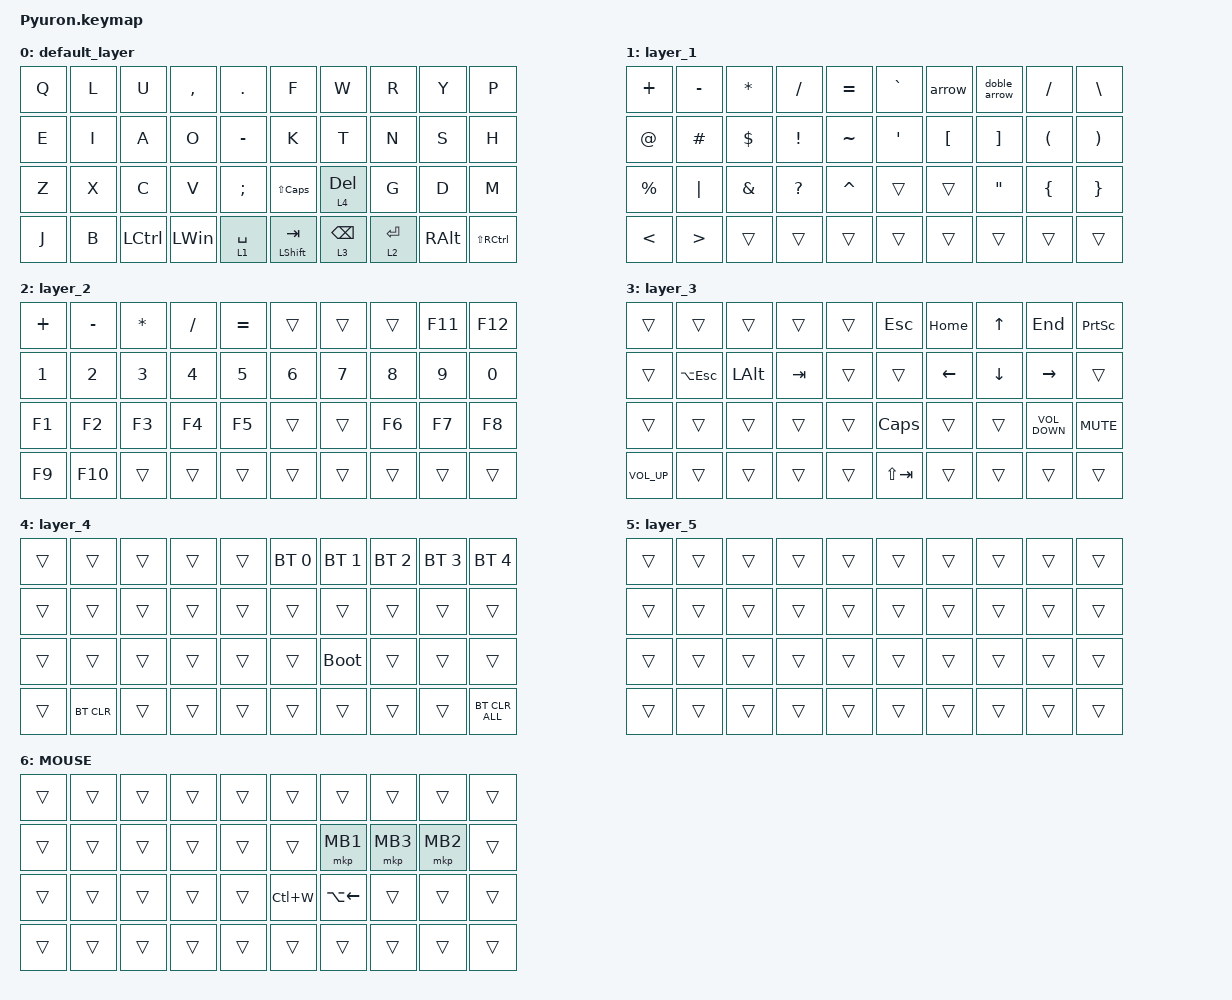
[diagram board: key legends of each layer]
#include <behaviors.dtsi>
#include <dt-bindings/zmk/bt.h>
#include <dt-bindings/zmk/keys.h>
#include <dt-bindings/zmk/pointing.h>

#define MOUSE 6

&mt {
    flavor = "balanced";
    quick-tap-ms = <0>;
};

/ {
    combos { compatible = "zmk,combos"; };

    macros {
        to_layer_0: to_layer_0 {
            compatible = "zmk,behavior-macro-one-param";
            #binding-cells = <1>;
            bindings = <&to 0 &macro_param_1to1 &kp MACRO_PLACEHOLDER>;
            label = "TO_LAYER_0";
        };

        arrow: arrow {
            compatible = "zmk,behavior-macro";
            #binding-cells = <0>;
            bindings = <&kp MINUS &kp GREATER_THAN>;
            label = "ARROW";
        };

        doble_arrow: doble_arrow {
            compatible = "zmk,behavior-macro";
            #binding-cells = <0>;
            bindings = <&kp EQUAL &kp GREATER_THAN>;
            label = "DOBLE_ARROW";
        };
    };

    lt_to_layer_0: lt_to_layer_0 {
        compatible = "zmk,behavior-hold-tap";
        label = "LAYER_TAP_TO_0";
        bindings = <&mo>, <&to_layer_0>;

        #binding-cells = <2>;
        tapping-term-ms = <200>;
    };
};

/ {
    behaviors {
        auto_mouse: auto_mouse {
            compatible = "zmk,behavior-auto-mouse";
            #binding-cells = <0>;
            bindings = <&mo MOUSE>;
            layers = <MOUSE>;
            delay-ms = <0>;
            timeout-ms = <1000>;
        };
    };

    keymap {
        compatible = "zmk,keymap";

        default_layer {
            bindings = <
&kp Q  &kp L  &kp U      &kp COMMA     &kp PERIOD     &kp F               &kp W            &kp R        &kp Y          &kp P
&kp E  &kp I  &kp A      &kp O         &kp MINUS      &kp K               &kp T            &kp N        &kp S          &kp H
&kp Z  &kp X  &kp C      &kp V         &kp SEMICOLON  &kp LS(CAPS)        &lt 4 DELETE     &kp G        &kp D          &kp M
&kp J  &kp B  &kp LCTRL  &kp LEFT_WIN  &lt 1 SPACE    &mt LEFT_SHIFT TAB  &lt 3 BACKSPACE  &lt 2 ENTER  &kp RIGHT_ALT  &kp LS(RIGHT_CONTROL)
            >;
        };

        layer_1 {
            bindings = <
&kp PLUS       &kp MINUS         &kp ASTRK      &kp SLASH     &kp EQUAL  &kp GRAVE         &arrow            &doble_arrow       &kp SLASH             &kp BACKSLASH
&kp AT         &kp HASH          &kp DOLLAR     &kp EXCL      &kp TILDE  &kp SINGLE_QUOTE  &kp LEFT_BRACKET  &kp RIGHT_BRACKET  &kp LEFT_PARENTHESIS  &kp RIGHT_PARENTHESIS
&kp PERCENT    &kp PIPE          &kp AMPERSAND  &kp QUESTION  &kp CARET  &trans            &trans            &kp DOUBLE_QUOTES  &kp LEFT_BRACE        &kp RIGHT_BRACE
&kp LESS_THAN  &kp GREATER_THAN  &trans         &trans        &trans     &trans            &trans            &trans             &trans                &trans
            >;
        };

        layer_2 {
            bindings = <
&kp PLUS      &kp MINUS     &kp ASTRK     &kp SLASH     &kp EQUAL     &trans        &trans        &trans        &kp F11       &kp F12
&kp NUMBER_1  &kp NUMBER_2  &kp NUMBER_3  &kp NUMBER_4  &kp NUMBER_5  &kp NUMBER_6  &kp NUMBER_7  &kp NUMBER_8  &kp NUMBER_9  &kp NUMBER_0
&kp F1        &kp F2        &kp F3        &kp F4        &kp F5        &trans        &trans        &kp F6        &kp F7        &kp F8
&kp F9        &kp F10       &trans        &trans        &trans        &trans        &trans        &trans        &trans        &trans
            >;
        };

        layer_3 {
            bindings = <
&trans           &trans          &trans        &trans   &trans  &kp ESC      &kp HOME  &kp UP_ARROW    &kp END            &kp PRINTSCREEN
&trans           &kp LA(ESCAPE)  &kp LEFT_ALT  &kp TAB  &trans  &trans       &kp LEFT  &kp DOWN_ARROW  &kp RIGHT          &trans
&trans           &trans          &trans        &trans   &trans  &kp CAPS     &trans    &trans          &kp C_VOLUME_DOWN  &kp C_MUTE
&kp C_VOLUME_UP  &trans          &trans        &trans   &trans  &kp LS(TAB)  &trans    &trans          &trans             &trans
            >;
        };

        layer_4 {
            bindings = <
&trans  &trans      &trans  &trans  &trans  &bt BT_SEL 0  &bt BT_SEL 1  &bt BT_SEL 2  &bt BT_SEL 3  &bt BT_SEL 4
&trans  &trans      &trans  &trans  &trans  &trans        &trans        &trans        &trans        &trans
&trans  &trans      &trans  &trans  &trans  &trans        &bootloader   &trans        &trans        &trans
&trans  &bt BT_CLR  &trans  &trans  &trans  &trans        &trans        &trans        &trans        &bt BT_CLR_ALL
            >;
        };

        layer_5 {
            bindings = <
&trans  &trans  &trans  &trans  &trans  &trans  &trans  &trans  &trans  &trans
&trans  &trans  &trans  &trans  &trans  &trans  &trans  &trans  &trans  &trans
&trans  &trans  &trans  &trans  &trans  &trans  &trans  &trans  &trans  &trans
&trans  &trans  &trans  &trans  &trans  &trans  &trans  &trans  &trans  &trans
            >;
        };

        MOUSE {
            bindings = <
&trans  &trans  &trans  &trans  &trans  &trans     &trans              &trans    &trans    &trans
&trans  &trans  &trans  &trans  &trans  &trans     &mkp MB1            &mkp MB3  &mkp MB2  &trans
&trans  &trans  &trans  &trans  &trans  &kp LC(W)  &kp LA(LEFT_ARROW)  &trans    &trans    &trans
&trans  &trans  &trans  &trans  &trans  &trans     &trans              &trans    &trans    &trans
            >;
        };
    };
};
